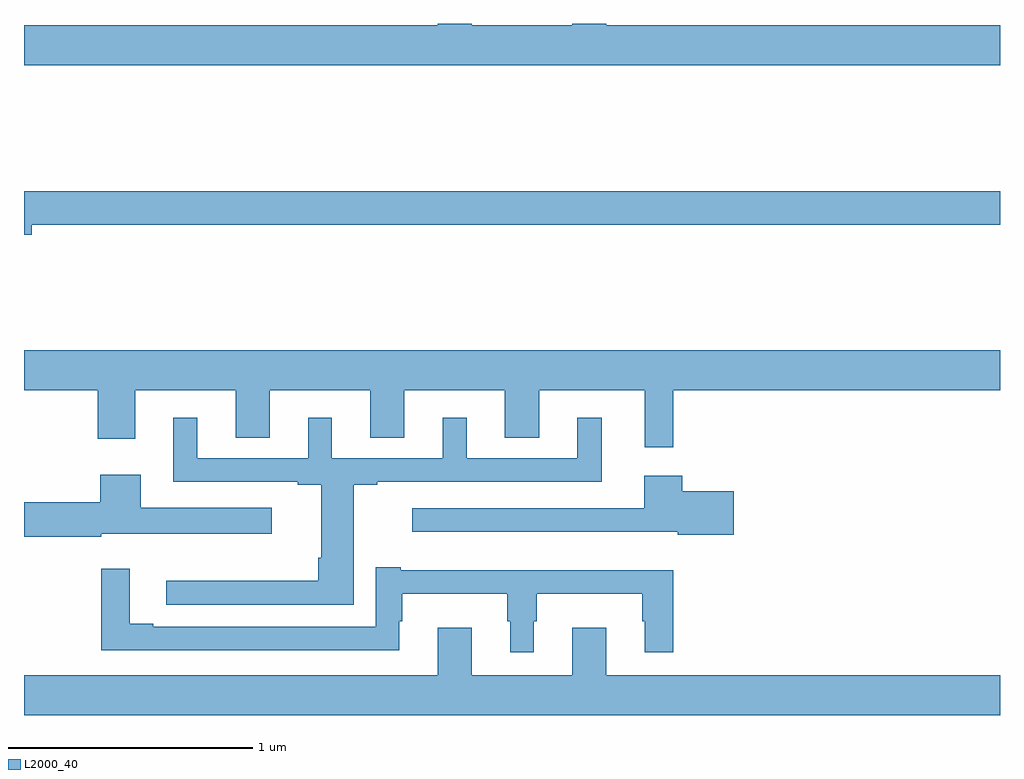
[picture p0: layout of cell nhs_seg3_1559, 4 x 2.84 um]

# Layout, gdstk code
import gdstk
lib = gdstk.Library(unit=1e-6, precision=1e-09)
def P(c, l, *ps):  # polygons
    for p in ps: c.add(gdstk.Polygon(p, *l))
L2000_40 = (2000, 40)

nhs_seg3_1559 = lib.new_cell('nhs_seg3_1559')
P(nhs_seg3_1559, L2000_40, [(192.695,722.4),(192.695,722.392),(191,722.392),(191,722.228),(195,722.228),(195,722.392),(193.387,722.392),(193.387,722.4),(193.247,722.4),(193.247,722.392),(192.835,722.392),(192.835,722.4)],
  [(191.032,721.576),(195,721.576),(195,721.712),(191,721.712),(191,721.534),(191.032,721.534)],
  [(193.661,720.896),(195,720.896),(195,721.06),(191,721.06),(191,720.896),(191.303,720.896),(191.303,720.699),(191.455,720.699),(191.455,720.896),(191.867,720.896),(191.867,720.703),(192.007,720.703),(192.007,720.896),(192.419,720.896),(192.419,720.703),(192.559,720.703),(192.559,720.896),(192.971,720.896),(192.971,720.703),(193.111,720.703),(193.111,720.896),(193.544,720.896),(193.544,720.663),(193.661,720.663)],
  [(192.352,720.51),(192.448,720.51),(192.448,720.522),(193.367,720.522),(193.367,720.784),(193.268,720.784),(193.268,720.618),(192.814,720.618),(192.814,720.784),(192.716,720.784),(192.716,720.618),(192.262,720.618),(192.262,720.784),(192.164,720.784),(192.164,720.618),(191.71,720.618),(191.71,720.784),(191.612,720.784),(191.612,720.522),(192.122,720.522),(192.122,720.51),(192.218,720.51),(192.218,720.211),(192.206,720.211),(192.206,720.116),(191.583,720.116),(191.583,720.018),(192.352,720.018)],
  [(191.316,720.308),(192.016,720.308),(192.016,720.415),(191.479,720.415),(191.479,720.55),(191.312,720.55),(191.312,720.438),(191,720.438),(191,720.296),(191.316,720.296)],
  [(193.909,720.483),(193.697,720.483),(193.697,720.547),(193.541,720.547),(193.541,720.414),(192.591,720.414),(192.591,720.317),(193.68,720.317),(193.68,720.305),(193.909,720.305)],
  [(193.09,719.951),(193.102,719.951),(193.102,720.062),(193.533,720.062),(193.533,719.951),(193.544,719.951),(193.544,719.823),(193.661,719.823),(193.661,720.16),(192.544,720.16),(192.544,720.172),(192.441,720.172),(192.441,719.928),(191.53,719.928),(191.53,719.941),(191.434,719.941),(191.434,720.166),(191.317,720.166),(191.317,719.832),(192.538,719.832),(192.538,719.951),(192.55,719.951),(192.55,720.062),(192.981,720.062),(192.981,719.951),(192.992,719.951),(192.992,719.823),(193.09,719.823)],
  [(195,719.728),(193.387,719.728),(193.387,719.923),(193.247,719.923),(193.247,719.728),(192.835,719.728),(192.835,719.923),(192.695,719.923),(192.695,719.728),(191,719.728),(191,719.564),(195,719.564)])

lib.write_gds('nhs_seg3_1559.gds')
